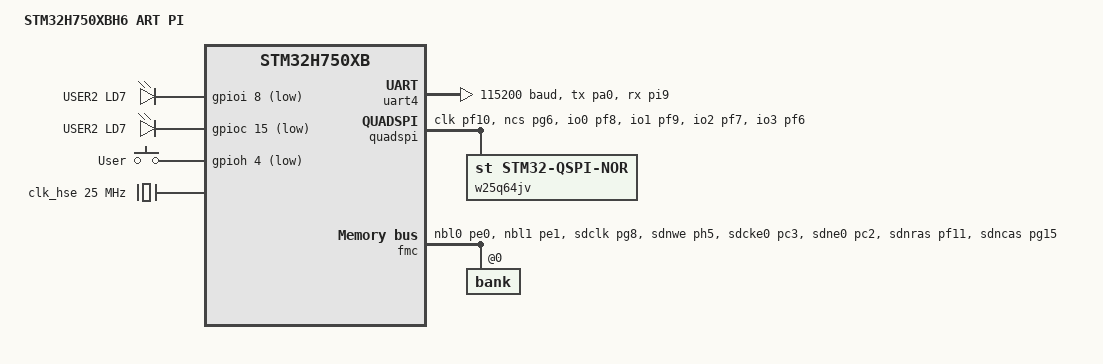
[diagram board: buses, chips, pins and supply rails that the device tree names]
/*
 * Copyright (c) 2023 STMicroelectronics
 *
 * SPDX-License-Identifier: Apache-2.0
 */

/dts-v1/;
#include <st/h7/stm32h750Xb.dtsi>
#include <st/h7/stm32h750xbhx-pinctrl.dtsi>
#include <zephyr/dt-bindings/input/input-event-codes.h>

/ {
	model = "STM32H750XBH6 ART PI";
	compatible = "st,stm32h750xb-art-pi";

	chosen {
		zephyr,console = &uart4;
		zephyr,shell-uart = &uart4;
		zephyr,sram = &sram0;
		zephyr,flash = &flash0;
		spi-flash0 = &w25q64jv;
	};

	leds {
		compatible = "gpio-leds";
		blue_led: led_1 {
			gpios = <&gpioi 8 GPIO_ACTIVE_LOW>;
			label = "USER2 LD7";
		};
		red_led: led_2 {
			gpios = <&gpioc 15 GPIO_ACTIVE_LOW>;
			label = "USER2 LD7";
		};
	};

	gpio_keys {
		compatible = "gpio-keys";
		user_button: button {
			label = "User";
			gpios = <&gpioh 4 GPIO_ACTIVE_LOW>;
			zephyr,code = <INPUT_KEY_0>;
		};
	};

	sdram1: sdram@c0000000 {
		compatible = "zephyr,memory-region", "mmio-sram";
		device_type = "memory";
		reg = <0xc0000000 DT_SIZE_M(32)>;
		zephyr,memory-region = "SDRAM1";
		zephyr,memory-attr = <( DT_MEM_ARM(ATTR_MPU_RAM) )>;
	};

	aliases {
		led0 = &blue_led;
		led1 = &red_led;
		sw0 = &user_button;
	};
};

&clk_hse {
	clock-frequency = <DT_FREQ_M(25)>;
	status = "okay";
};

&pll {
	div-m = <5>;
	mul-n = <192>;
	div-p = <2>;
	div-q = <4>;
	div-r = <4>;
	clocks = <&clk_hse>;
	status = "okay";
};

&rcc {
	clocks = <&pll>;
	clock-frequency = <DT_FREQ_M(480)>;
	d1cpre = <1>;
	hpre = <2>;
	d1ppre = <2>;
	d2ppre1 = <2>;
	d2ppre2 = <2>;
	d3ppre = <2>;
};

&uart4 {
	pinctrl-0 = <&uart4_tx_pa0 &uart4_rx_pi9>;
	pinctrl-names = "default";
	current-speed = <115200>;
	status = "okay";
};

&quadspi {
	pinctrl-0 = <&quadspi_clk_pf10 &quadspi_bk1_ncs_pg6
			&quadspi_bk1_io0_pf8 &quadspi_bk1_io1_pf9
			&quadspi_bk1_io2_pf7 &quadspi_bk1_io3_pf6>;
	pinctrl-names = "default";

	status = "okay";
	w25q64jv: qspi-nor-flash@90000000 {
			compatible = "st,stm32-qspi-nor";
			reg = <0x90000000 DT_SIZE_M(8)>; /* 128 Mbits */
			qspi-max-frequency = <80000000>;
			jedec-id = [ef 40 18];
			spi-bus-width = <4>;
			status = "okay";
	};
};

&fmc {
	status = "okay";
	pinctrl-0 = <&fmc_nbl0_pe0 &fmc_nbl1_pe1
		     &fmc_sdclk_pg8 &fmc_sdnwe_ph5 &fmc_sdcke0_pc3
		     &fmc_sdne0_pc2 &fmc_sdnras_pf11 &fmc_sdncas_pg15
		     &fmc_a0_pf0 &fmc_a1_pf1 &fmc_a2_pf2 &fmc_a3_pf3 &fmc_a4_pf4
		     &fmc_a5_pf5 &fmc_a6_pf12 &fmc_a7_pf13 &fmc_a8_pf14
		     &fmc_a9_pf15 &fmc_a10_pg0 &fmc_a11_pg1 &fmc_a12_pg2
		     &fmc_a14_pg4 &fmc_a15_pg5 &fmc_d0_pd14 &fmc_d1_pd15
		     &fmc_d2_pd0 &fmc_d3_pd1 &fmc_d4_pe7 &fmc_d5_pe8 &fmc_d6_pe9
		     &fmc_d7_pe10 &fmc_d8_pe11 &fmc_d9_pe12 &fmc_d10_pe13
		     &fmc_d11_pe14 &fmc_d12_pe15 &fmc_d13_pd8 &fmc_d14_pd9
		     &fmc_d15_pd10>;
	pinctrl-names = "default";

	sdram {
		status = "okay";
		power-up-delay = <100>;
		num-auto-refresh = <8>;
		mode-register = <0x221>;
		refresh-rate = <0x02A5>;

		bank@0 {
			reg = <0>;

			st,sdram-control = <STM32_FMC_SDRAM_NC_9
						STM32_FMC_SDRAM_NR_13
					    STM32_FMC_SDRAM_MWID_16
                        STM32_FMC_SDRAM_NB_4
					    STM32_FMC_SDRAM_CAS_2
					    STM32_FMC_SDRAM_SDCLK_PERIOD_2
					    STM32_FMC_SDRAM_RBURST_ENABLE
					    STM32_FMC_SDRAM_RPIPE_0>;
			st,sdram-timing = <2 8 6 6 2 2 2>;
		};
	};
};
